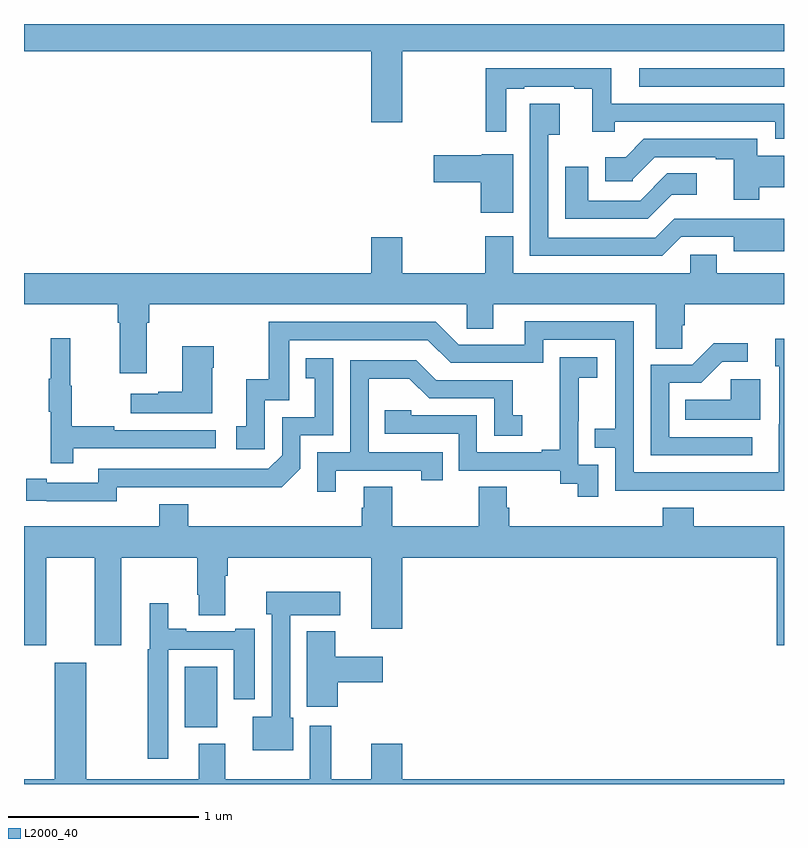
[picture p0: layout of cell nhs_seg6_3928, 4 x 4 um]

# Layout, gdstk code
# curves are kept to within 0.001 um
import gdstk
lib = gdstk.Library(unit=1e-6, precision=1e-09)
def R(c, l, rs):  # rectangles x0, y0, x1, y1
    for r in rs: c.add(gdstk.rectangle(r[:2], r[2:], *l))
def P(c, l, *ps):  # polygons
    for p in ps: c.add(gdstk.Polygon(p, *l))
L2000_40 = (2000, 40)

nhs_seg6_3928 = lib.new_cell('nhs_seg6_3928')
R(nhs_seg6_3928, L2000_40, [(343.847,923.798,344.017,924.118), (346.239,927.171,347,927.267)])
P(nhs_seg6_3928, L2000_40, [(344.992,927.356),(347,927.356),(347,927.5),(343,927.5),(343,927.356),(344.828,927.356),(344.828,926.982),(344.992,926.982)],
  [(347,927.081),(346.09,927.081),(346.09,927.267),(345.429,927.267),(345.429,926.934),(345.537,926.934),(345.537,927.159),(345.634,927.159),(345.634,927.171),(345.896,927.171),(345.896,927.159),(345.992,927.159),(345.992,926.934),(346.109,926.934),(346.109,926.985),(346.953,926.985),(346.953,926.895),(347,926.895)],
  [(346.458,926.379),(346.736,926.379),(346.736,926.303),(347,926.303),(347,926.476),(346.422,926.475),(346.323,926.376),(345.759,926.376),(345.759,926.918),(345.82,926.918),(345.82,927.079),(345.663,927.079),(345.663,926.28),(346.359,926.28)],
  [(346.871,926.642),(347,926.642),(347,926.806),(346.858,926.806),(346.858,926.895),(346.262,926.895),(346.166,926.799),(346.059,926.799),(346.059,926.673),(346.203,926.673),(346.203,926.682),(346.32,926.799),(346.64,926.799),(346.64,926.787),(346.736,926.787),(346.736,926.574),(346.871,926.574)],
  [(345.574,926.815),(345.408,926.815),(345.408,926.81),(345.156,926.81),(345.156,926.668),(345.404,926.668),(345.404,926.507),(345.574,926.507)],
  [(346.408,926.601),(346.54,926.601),(346.54,926.714),(346.386,926.714),(346.243,926.571),(345.97,926.571),(345.97,926.749),(345.848,926.749),(345.848,926.475),(346.282,926.475)],
  [(343.645,925.928),(343.658,925.928),(343.658,926.024),(345.33,926.024),(345.33,925.897),(345.469,925.897),(345.469,926.024),(346.325,926.024),(346.325,925.792),(346.464,925.792),(346.464,925.915),(346.478,925.915),(346.478,926.024),(347,926.024),(347,926.188),(346.645,926.188),(346.645,926.286),(346.506,926.286),(346.506,926.188),(345.574,926.188),(345.574,926.383),(345.427,926.383),(345.427,926.188),(344.992,926.188),(344.992,926.377),(344.828,926.377),(344.828,926.188),(343,926.188),(343,926.024),(343.493,926.024),(343.493,925.928),(343.505,925.928),(343.505,925.662),(343.645,925.662)],
  [(347,925.843),(346.955,925.843),(346.955,925.698),(346.974,925.698),(346.973,925.14),(346.209,925.14),(346.209,925.935),(345.635,925.935),(345.635,925.812),(345.288,925.812),(345.168,925.932),(344.289,925.932),(344.289,925.63),(344.171,925.63),(344.171,925.383),(344.118,925.383),(344.118,925.263),(344.268,925.263),(344.268,925.521),(344.397,925.521),(344.397,925.836),(345.126,925.836),(345.246,925.716),(345.732,925.716),(345.732,925.839),(346.113,925.839),(346.113,925.37),(346.003,925.37),(346.003,925.269),(346.113,925.269),(346.113,925.044),(347,925.043)],
  [(343.259,925.266),(344.008,925.266),(344.008,925.362),(343.475,925.362),(343.475,925.382),(343.252,925.382),(343.252,925.596),(343.244,925.596),(343.244,925.846),(343.142,925.846),(343.142,925.633),(343.131,925.633),(343.131,925.459),(343.142,925.459),(343.142,925.188),(343.259,925.188)],
  [(346.834,925.326),(346.395,925.326),(346.395,925.611),(346.564,925.611),(346.675,925.722),(346.81,925.722),(346.81,925.82),(346.631,925.82),(346.518,925.707),(346.299,925.707),(346.299,925.23),(346.834,925.23)],
  [(343.99,925.691),(343.998,925.691),(343.998,925.804),(343.832,925.804),(343.832,925.565),(343.706,925.565),(343.706,925.555),(343.563,925.555),(343.563,925.451),(343.99,925.451)],
  [(346.023,925.179),(345.918,925.179),(345.918,925.409),(345.92,925.409),(345.92,925.637),(346.018,925.637),(346.018,925.747),(345.82,925.747),(345.82,925.541),(345.821,925.541),(345.821,925.258),(345.725,925.258),(345.725,925.245),(345.384,925.245),(345.384,925.44),(345.039,925.44),(345.039,925.467),(344.899,925.467),(344.899,925.344),(345.288,925.344),(345.288,925.149),(345.822,925.149),(345.822,925.081),(345.915,925.081),(345.915,925.011),(346.023,925.011)],
  [(343.488,925.062),(344.356,925.061),(344.454,925.158),(344.454,925.335),(344.628,925.335),(344.628,925.741),(344.482,925.741),(344.482,925.635),(344.531,925.635),(344.531,925.431),(344.358,925.431),(344.358,925.23),(344.286,925.158),(343.392,925.158),(343.392,925.086),(343.12,925.086),(343.12,925.106),(343.012,925.106),(343.012,924.99),(343.488,924.989)],
  [(344.641,925.149),(345.092,925.149),(345.092,925.098),(345.203,925.098),(345.203,925.245),(344.814,925.245),(344.814,925.634),(345.028,925.634),(345.132,925.53),(345.474,925.53),(345.474,925.332),(345.622,925.332),(345.622,925.441),(345.573,925.441),(345.573,925.626),(345.169,925.626),(345.064,925.731),(344.718,925.731),(344.718,925.245),(344.544,925.245),(344.544,925.038),(344.641,925.038)],
  [(346.876,925.63),(346.719,925.63),(346.719,925.522),(346.48,925.522),(346.48,925.418),(346.876,925.418)],
  [(343,924.231),(343.117,924.231),(343.117,924.692),(343.373,924.692),(343.373,924.231),(343.513,924.231),(343.513,924.692),(343.912,924.692),(343.912,924.496),(343.919,924.496),(343.919,924.388),(344.059,924.388),(344.059,924.596),(344.072,924.596),(344.072,924.692),(344.828,924.692),(344.828,924.318),(344.992,924.318),(344.992,924.692),(346.961,924.692),(346.961,924.231),(347,924.231),(347,924.856),(346.526,924.856),(346.526,924.955),(346.361,924.955),(346.361,924.856),(345.554,924.856),(345.554,924.954),(345.541,924.954),(345.541,925.064),(345.394,925.064),(345.394,924.856),(344.937,924.856),(344.937,925.064),(344.789,925.064),(344.789,924.954),(344.777,924.954),(344.777,924.856),(343.865,924.856),(343.865,924.973),(343.712,924.973),(343.712,924.856),(343,924.856)],
  [(344.416,923.85),(344.4,923.85),(344.4,924.389),(344.665,924.389),(344.665,924.511),(344.276,924.511),(344.276,924.393),(344.304,924.393),(344.304,923.854),(344.204,923.854),(344.204,923.678),(344.416,923.678)],
  [(343.758,924.207),(344.105,924.207),(344.105,923.946),(344.215,923.946),(344.215,924.316),(344.111,924.316),(344.111,924.303),(343.855,924.303),(343.855,924.316),(343.759,924.316),(343.759,924.451),(343.661,924.451),(343.661,924.21),(343.65,924.21),(343.65,923.634),(343.758,923.634)],
  [(344.651,924.035),(344.887,924.035),(344.887,924.169),(344.638,924.169),(344.638,924.304),(344.489,924.304),(344.489,923.907),(344.651,923.907)],
  [(347,923.524),(344.992,923.524),(344.992,923.713),(344.828,923.713),(344.828,923.524),(344.617,923.524),(344.617,923.806),(344.504,923.806),(344.504,923.524),(344.059,923.524),(344.059,923.713),(343.919,923.713),(343.919,923.524),(343.327,923.524),(343.327,924.139),(343.163,924.139),(343.163,923.524),(343,923.524),(343,923.5),(347,923.5)])

lib.write_gds('nhs_seg6_3928.gds')
